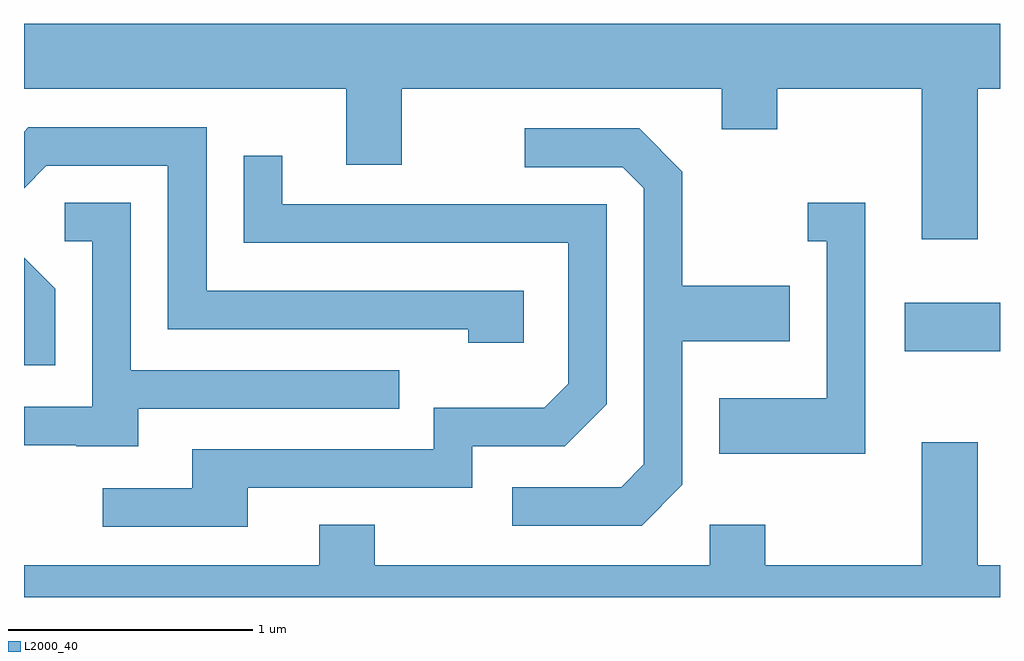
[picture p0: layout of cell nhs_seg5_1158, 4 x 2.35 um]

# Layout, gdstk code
import gdstk
lib = gdstk.Library(unit=1e-6, precision=1e-09)
def R(c, l, rs):  # rectangles x0, y0, x1, y1
    for r in rs: c.add(gdstk.rectangle(r[:2], r[2:], *l))
def P(c, l, *ps):  # polygons
    for p in ps: c.add(gdstk.Polygon(p, *l))
L2000_40 = (2000, 40)

nhs_seg5_1158 = lib.new_cell('nhs_seg5_1158')
R(nhs_seg5_1158, L2000_40, [(223.221,1429.081,223.611,1429.279)])
P(nhs_seg5_1158, L2000_40, [(223.519,1430.156),(223.611,1430.156),(223.611,1430.424),(219.611,1430.424),(219.611,1430.156),(220.931,1430.156),(220.931,1429.846),(221.159,1429.846),(221.159,1430.156),(222.471,1430.156),(222.471,1429.991),(222.699,1429.991),(222.699,1430.156),(223.291,1430.156),(223.291,1429.541),(223.519,1429.541)],
  [(221.659,1429.329),(220.359,1429.329),(220.359,1429.999),(219.629,1429.999),(219.611,1429.981),(219.611,1429.75),(219.702,1429.841),(220.201,1429.841),(220.201,1429.171),(221.431,1429.171),(221.431,1429.116),(221.659,1429.116)],
  [(222.309,1428.534),(222.309,1429.121),(222.749,1429.121),(222.749,1429.349),(222.309,1429.349),(222.309,1429.817),(222.132,1429.994),(221.663,1429.994),(221.663,1429.836),(222.064,1429.836),(222.151,1429.749),(222.151,1428.617),(222.059,1428.524),(221.613,1428.524),(221.613,1428.366),(222.142,1428.366)],
  [(220.529,1428.521),(221.449,1428.521),(221.449,1428.691),(221.827,1428.691),(221.999,1428.864),(221.999,1429.684),(220.669,1429.684),(220.669,1429.883),(220.511,1429.883),(220.511,1429.526),(221.841,1429.526),(221.841,1428.947),(221.744,1428.849),(221.291,1428.849),(221.291,1428.679),(220.301,1428.679),(220.301,1428.519),(219.933,1428.519),(219.933,1428.361),(220.529,1428.361)],
  [(223.059,1429.689),(222.823,1429.689),(222.823,1429.531),(222.901,1429.531),(222.901,1428.889),(222.461,1428.889),(222.461,1428.661),(223.059,1428.661)],
  [(220.079,1428.846),(221.148,1428.846),(221.148,1429.004),(220.049,1429.004),(220.049,1429.689),(219.778,1429.689),(219.778,1429.531),(219.891,1429.531),(219.891,1428.854),(219.611,1428.854),(219.611,1428.696),(219.825,1428.696),(219.825,1428.691),(220.079,1428.691)],
  [(219.739,1429.337),(219.611,1429.465),(219.611,1429.023),(219.739,1429.023)],
  [(223.611,1428.204),(223.519,1428.204),(223.519,1428.709),(223.291,1428.709),(223.291,1428.204),(222.649,1428.204),(222.649,1428.369),(222.421,1428.369),(222.421,1428.204),(221.049,1428.204),(221.049,1428.369),(220.821,1428.369),(220.821,1428.204),(219.611,1428.204),(219.611,1428.072),(223.611,1428.072)])

lib.write_gds('nhs_seg5_1158.gds')
